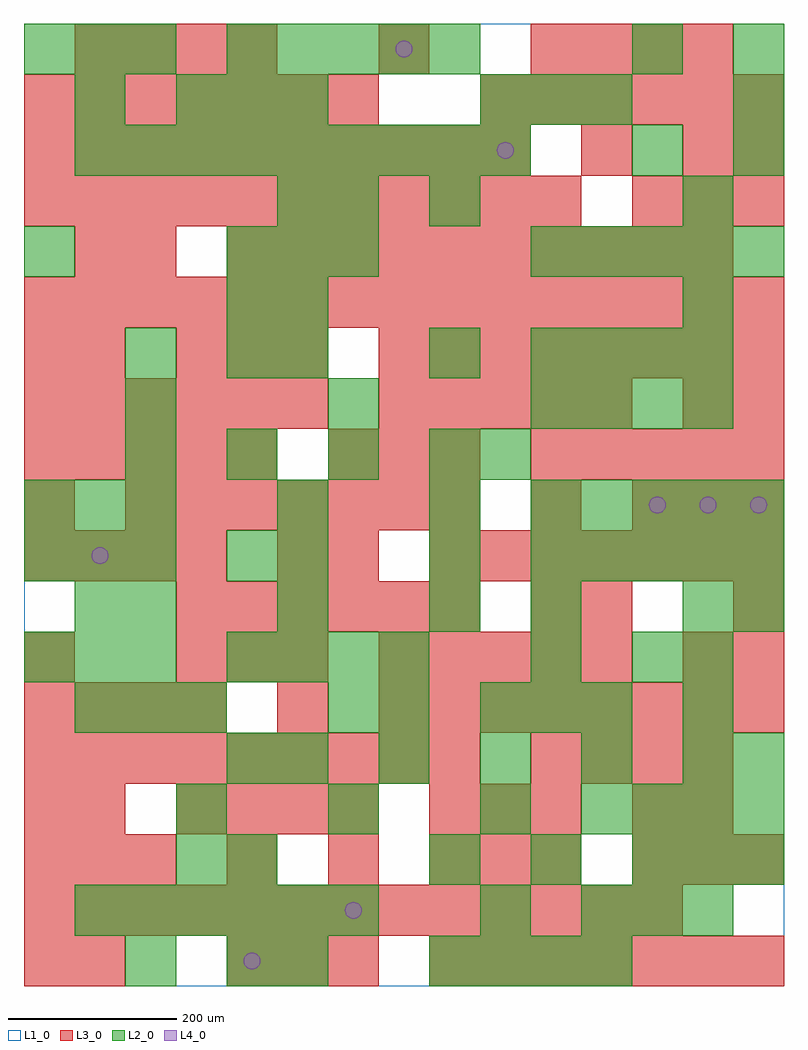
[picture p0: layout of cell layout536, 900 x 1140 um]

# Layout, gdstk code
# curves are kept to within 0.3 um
import gdstk
lib = gdstk.Library(unit=1e-6, precision=1e-09)
def R(c, l, rs):  # rectangles x0, y0, x1, y1
    for r in rs: c.add(gdstk.rectangle(r[:2], r[2:], *l))
def A(c, l, x, y, w, h, nx, ny, dx, dy):  # array of equal rectangles
    R(c, l, [(x+i*dx, y+j*dy, x+i*dx+w, y+j*dy+h) for i in range(nx) for j in range(ny)])
def P(c, l, *ps):  # polygons
    for p in ps: c.add(gdstk.Polygon(p, *l))
L1_0 = (1, 0)
L2_0 = (2, 0)
L3_0 = (3, 0)
L4_0 = (4, 0)

layout536 = lib.new_cell('layout536')
R(layout536, L1_0, [(0,0,900,1140)])
A(layout536, L2_0, 240, 0, 60, 60, 1, 3, 0, 120)
A(layout536, L2_0, 480, 0, 60, 60, 4, 1, 60, 0)
A(layout536, L2_0, 60, 60, 60, 60, 6, 1, 60, 0)
A(layout536, L2_0, 660, 60, 60, 60, 3, 2, 60, 600)
A(layout536, L2_0, 480, 120, 60, 60, 3, 1, 120, 0)
A(layout536, L2_0, 180, 180, 60, 60, 3, 1, 180, 0)
A(layout536, L2_0, 660, 180, 60, 60, 4, 1, 60, 0)
A(layout536, L2_0, 300, 240, 60, 60, 5, 1, 120, 0)
A(layout536, L2_0, 60, 300, 60, 60, 3, 1, 60, 0)
A(layout536, L2_0, 540, 300, 60, 60, 3, 2, 60, 720)
A(layout536, L2_0, 780, 300, 60, 60, 1, 3, 0, 60)
A(layout536, L2_0, 0, 360, 60, 60, 3, 2, 60, 120)
A(layout536, L2_0, 240, 360, 60, 60, 4, 1, 60, 0)
A(layout536, L2_0, 120, 420, 60, 60, 3, 1, 180, 0)
A(layout536, L2_0, 600, 480, 60, 60, 5, 2, 60, 60)
A(layout536, L2_0, 0, 540, 60, 60, 3, 2, 60, 540)
A(layout536, L2_0, 480, 540, 60, 60, 1, 3, 0, 180)
A(layout536, L2_0, 120, 600, 60, 60, 4, 1, 120, 0)
A(layout536, L2_0, 120, 660, 60, 60, 3, 1, 240, 0)
A(layout536, L2_0, 600, 720, 60, 60, 4, 1, 60, 0)
A(layout536, L2_0, 240, 840, 60, 60, 3, 1, 60, 0)
A(layout536, L2_0, 600, 840, 60, 60, 5, 1, 60, 0)
A(layout536, L2_0, 60, 960, 60, 60, 9, 1, 60, 0)
A(layout536, L2_0, 840, 960, 60, 60, 1, 3, 0, 60)
A(layout536, L2_0, 180, 1020, 60, 60, 3, 1, 60, 0)
A(layout536, L2_0, 240, 1080, 60, 60, 5, 1, 60, 0)
R(layout536, L2_0, [(120,0,180,60), (300,0,360,60), (540,60,600,120), (180,120,240,180), (780,120,840,180), (840,120,900,180), (840,240,900,300), (360,300,420,360), (420,300,480,360), (600,360,660,420), (720,360,780,420), (60,420,120,480), (600,420,660,480), (840,420,900,480), (240,480,300,540), (300,480,360,540), (480,480,540,540), (300,540,360,600), (540,600,600,660), (120,720,180,780), (240,720,300,780), (300,720,360,780), (240,780,300,840), (300,780,360,840), (780,780,840,840), (0,840,60,900), (300,900,360,960), (360,900,420,960), (780,900,840,960), (720,960,780,1020), (60,1020,120,1080), (720,1080,780,1140)])
A(layout536, L3_0, 0, 0, 60, 60, 1, 5, 0, 180)
A(layout536, L3_0, 240, 0, 60, 60, 3, 1, 60, 0)
A(layout536, L3_0, 480, 0, 60, 60, 7, 2, 60, 480)
A(layout536, L3_0, 0, 60, 60, 60, 13, 1, 60, 0)
A(layout536, L3_0, 0, 120, 60, 60, 3, 1, 60, 0)
A(layout536, L3_0, 240, 120, 60, 60, 3, 1, 120, 0)
A(layout536, L3_0, 720, 120, 60, 60, 3, 2, 60, 420)
A(layout536, L3_0, 180, 180, 60, 60, 4, 1, 60, 0)
A(layout536, L3_0, 480, 180, 60, 60, 3, 1, 60, 0)
A(layout536, L3_0, 0, 240, 60, 60, 9, 1, 60, 0)
A(layout536, L3_0, 600, 240, 60, 60, 4, 2, 60, 840)
A(layout536, L3_0, 0, 300, 60, 60, 4, 2, 60, 180)
A(layout536, L3_0, 420, 300, 60, 60, 8, 2, 60, 420)
A(layout536, L3_0, 180, 360, 60, 60, 3, 2, 60, 360)
A(layout536, L3_0, 420, 360, 60, 60, 5, 2, 60, 300)
A(layout536, L3_0, 780, 360, 60, 60, 1, 3, 0, 300)
A(layout536, L3_0, 180, 420, 60, 60, 6, 1, 60, 0)
A(layout536, L3_0, 120, 540, 60, 60, 7, 1, 60, 0)
A(layout536, L3_0, 0, 600, 60, 60, 5, 1, 60, 0)
A(layout536, L3_0, 360, 600, 60, 60, 3, 1, 60, 0)
A(layout536, L3_0, 600, 600, 60, 60, 5, 1, 60, 0)
A(layout536, L3_0, 0, 660, 60, 60, 6, 1, 60, 0)
A(layout536, L3_0, 0, 780, 60, 60, 15, 1, 60, 0)
A(layout536, L3_0, 240, 840, 60, 60, 10, 1, 60, 0)
A(layout536, L3_0, 0, 900, 60, 60, 11, 1, 60, 0)
A(layout536, L3_0, 720, 900, 60, 60, 3, 1, 60, 0)
A(layout536, L3_0, 0, 960, 60, 60, 10, 1, 60, 0)
A(layout536, L3_0, 0, 1020, 60, 60, 7, 1, 60, 0)
A(layout536, L3_0, 540, 1020, 60, 60, 6, 1, 60, 0)
A(layout536, L3_0, 60, 1080, 60, 60, 4, 1, 60, 0)
R(layout536, L3_0, [(60,0,120,60), (540,120,600,180), (600,120,660,180), (60,180,120,240), (720,180,780,240), (780,180,840,240), (300,300,360,360), (840,360,900,420), (600,420,660,480), (660,420,720,480), (840,420,900,480), (300,480,360,540), (360,480,420,540), (600,540,660,600), (840,660,900,720), (60,720,120,780), (60,840,120,900), (120,840,180,900), (660,960,720,1020), (840,960,900,1020), (420,1080,480,1140)])
P(layout536, L4_0, [(100,510),(99.239,513.827),(97.071,517.071),(93.827,519.239),(90,520),(86.173,519.239),(82.929,517.071),(80.761,513.827),(80,510),(80.761,506.173),(82.929,502.929),(86.173,500.761),(90,500),(93.827,500.761),(97.071,502.929),(99.239,506.173)],
  [(280,30),(279.239,33.827),(277.071,37.071),(273.827,39.239),(270,40),(266.173,39.239),(262.929,37.071),(260.761,33.827),(260,30),(260.761,26.173),(262.929,22.929),(266.173,20.761),(270,20),(273.827,20.761),(277.071,22.929),(279.239,26.173)],
  [(400,90),(399.239,93.827),(397.071,97.071),(393.827,99.239),(390,100),(386.173,99.239),(382.929,97.071),(380.761,93.827),(380,90),(380.761,86.173),(382.929,82.929),(386.173,80.761),(390,80),(393.827,80.761),(397.071,82.929),(399.239,86.173)],
  [(460,1110),(459.239,1113.827),(457.071,1117.071),(453.827,1119.239),(450,1120),(446.173,1119.239),(442.929,1117.071),(440.761,1113.827),(440,1110),(440.761,1106.173),(442.929,1102.929),(446.173,1100.761),(450,1100),(453.827,1100.761),(457.071,1102.929),(459.239,1106.173)],
  [(580,990),(579.239,993.827),(577.071,997.071),(573.827,999.239),(570,1000),(566.173,999.239),(562.929,997.071),(560.761,993.827),(560,990),(560.761,986.173),(562.929,982.929),(566.173,980.761),(570,980),(573.827,980.761),(577.071,982.929),(579.239,986.173)],
  [(760,570),(759.239,573.827),(757.071,577.071),(753.827,579.239),(750,580),(746.173,579.239),(742.929,577.071),(740.761,573.827),(740,570),(740.761,566.173),(742.929,562.929),(746.173,560.761),(750,560),(753.827,560.761),(757.071,562.929),(759.239,566.173)],
  [(820,570),(819.239,573.827),(817.071,577.071),(813.827,579.239),(810,580),(806.173,579.239),(802.929,577.071),(800.761,573.827),(800,570),(800.761,566.173),(802.929,562.929),(806.173,560.761),(810,560),(813.827,560.761),(817.071,562.929),(819.239,566.173)],
  [(880,570),(879.239,573.827),(877.071,577.071),(873.827,579.239),(870,580),(866.173,579.239),(862.929,577.071),(860.761,573.827),(860,570),(860.761,566.173),(862.929,562.929),(866.173,560.761),(870,560),(873.827,560.761),(877.071,562.929),(879.239,566.173)])

lib.write_gds('layout536.gds')
